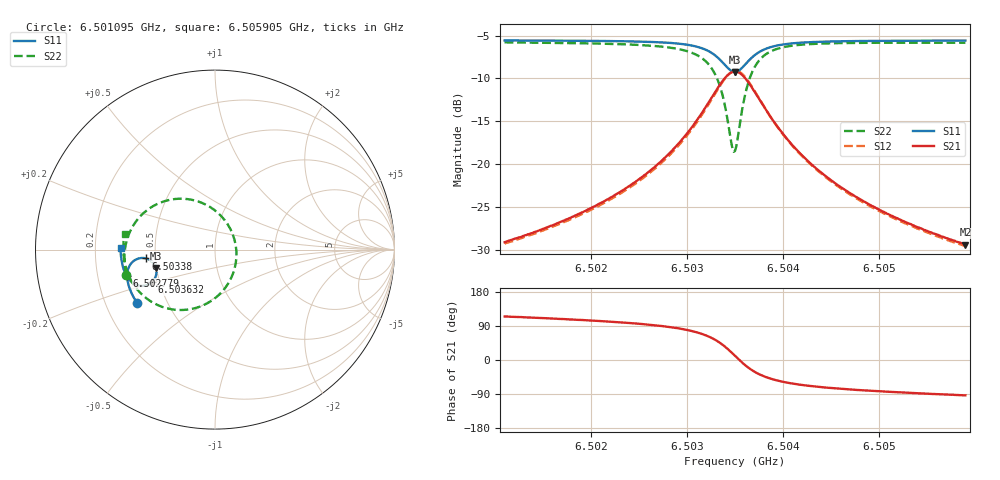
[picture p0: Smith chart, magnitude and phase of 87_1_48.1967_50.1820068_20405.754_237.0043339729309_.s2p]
#  HZ  S  RI  R  50.00
! Rohde & Schwarz Vector Network Analyzer
! Rohde-Schwarz,ZNB20-2Port,1311601062101988,3.16
! Created: UTC 3/20/2024, 11:39:55 AM
! freq[Hz]  re:S11  im:S11  re:S21  im:S21  re:S12  im:S12  re:S22  im:S22
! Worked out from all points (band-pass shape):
!   401 points, 6.501095 GHz to 6.505905 GHz, reference 50 ohm
!   highest |S21| = -9.20 dB at 6.5035 GHz (marker M1); lowest = -29.4 dB at 6.505905 GHz (marker M2)
!   |S21| within 3 dB of the highest: 6.503259 GHz to 6.50374 GHz (481.1 kHz wide, 0.0074 % of centre)
!   lowest |S11| = -9.3 dB at 6.5035 GHz (marker M3), VSWR 2.05, Z = 24.8 - j5.75 ohm
!   |S11| at or under -10 dB: nowhere
!   |S22| runs from -18.6 to -5.8 dB; largest |S21 - S12| = 0.012
!   S11 on the Smith chart (normalised r, x): 6.501095 GHz: 0.34, -0.28; 6.502779 GHz: 0.33, -0.13; 6.50338 GHz: 0.44, -0.05; 6.503632 GHz: 0.45, -0.20; 6.505905 GHz: 0.31, +0.01
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6.5010951e9  -0.4328 -0.2997  -0.0147 0.0318  -0.013 0.0318  -0.494 -0.1398
6.5019007e9  -0.4665 -0.2389  -0.014 0.0503  -0.0115 0.0497  -0.5044 -0.0514
6.5023457e9  -0.4816 -0.1984  -0.0107 0.0706  -0.0076 0.0693  -0.4994 0.0146
6.5027064e9  -0.4893 -0.157  -0.000856 0.1013  0.00274 0.0988  -0.4779 0.0906
6.5027786e9  -0.4898 -0.147  0.00317 0.1103  0.00687 0.1073  -0.4688 0.1103
6.502983e9  -0.4858 -0.1134  0.0251 0.1448  0.0289 0.1402  -0.4228 0.1785
6.5031393e9  -0.4705 -0.0812  0.0657 0.1814  0.0684 0.1755  -0.3437 0.2428
6.5032836e9  -0.4316 -0.0516  0.1495 0.2104  0.1501 0.2041  -0.1909 0.2835
6.5033317e9  -0.4099 -0.0468  0.1931 0.2087  0.1931 0.2031  -0.1143 0.2741
6.5033798e9  -0.3839 -0.0492  0.2431 0.193  0.243 0.1882  -0.0287 0.2382
6.503464e9  -0.3403 -0.0793  0.3227 0.116  0.3252 0.1118  0.0983 0.0861
6.5035001e9  -0.3291 -0.1022  0.3404 0.0659  0.3442 0.0605  0.1191 -0.00794
6.5035241e9  -0.3262 -0.1187  0.3438 0.0305  0.348 0.0236  0.116 -0.0731
6.5035602e9  -0.3286 -0.1433  0.336 -0.0208  0.3395 -0.0299  0.0872 -0.1641
6.5036323e9  -0.3514 -0.1813  0.2877 -0.0986  0.2875 -0.1103  -0.0268 -0.2895
6.5037285e9  -0.3931 -0.2012  0.2076 -0.1423  0.2024 -0.1527  -0.1901 -0.3366
6.5038849e9  -0.4432 -0.1939  0.1176 -0.1412  0.1102 -0.1468  -0.3536 -0.291
6.5040532e9  -0.4728 -0.1728  0.0686 -0.1199  0.0621 -0.1222  -0.433 -0.2223
6.5043057e9  -0.4954 -0.1414  0.0353 -0.0924  0.0302 -0.0929  -0.4814 -0.1431
6.5046905e9  -0.512 -0.1003  0.0148 -0.0665  0.0114 -0.0662  -0.5051 -0.0627
6.5051114e9  -0.5207 -0.0607  0.00534 -0.0504  0.00292 -0.0497  -0.5108 -0.000813
6.505905e9  -0.526 0.00718  -0.00184 -0.0338  -0.00329 -0.0331  -0.5035 0.0858
